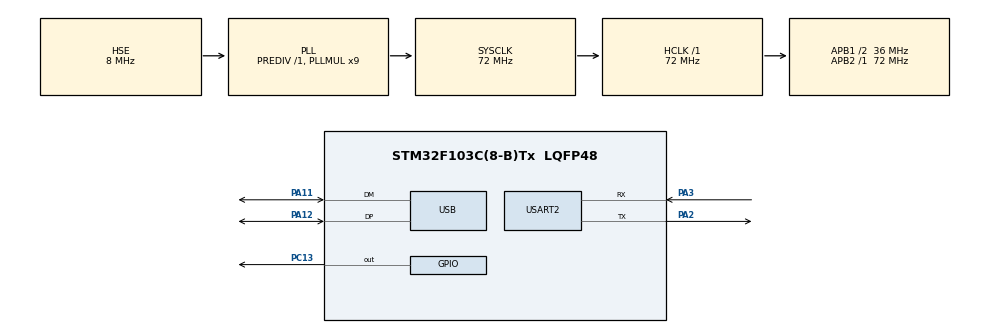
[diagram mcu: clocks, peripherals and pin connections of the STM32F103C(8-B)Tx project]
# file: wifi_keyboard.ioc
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Mcu.Family=STM32F1
Mcu.Name=STM32F103C(8-B)Tx
Mcu.Package=LQFP48
NVIC.PriorityGroup=NVIC_PRIORITYGROUP_4
NVIC.USB_LP_CAN1_RX0_IRQn=true\:0\:0\:false\:false\:true\:false
PA11.Mode=Device
PA11.Signal=USB_DM
PA12.Mode=Device
PA12.Signal=USB_DP
PA13.Mode=Serial_Wire
PA13.Signal=SYS_JTMS-SWDIO
PA14.Mode=Serial_Wire
PA14.Signal=SYS_JTCK-SWCLK
PA2.Mode=Asynchronous
PA2.Signal=USART2_TX
PA3.Mode=Asynchronous
PA3.Signal=USART2_RX
PC13-TAMPER-RTC.Signal=GPIO_Output
PD0-OSC_IN.Mode=HSE-External-Oscillator
PD0-OSC_IN.Signal=RCC_OSC_IN
PD1-OSC_OUT.Mode=HSE-External-Oscillator
PD1-OSC_OUT.Signal=RCC_OSC_OUT
ProjectManager.HeapSize=0x200
ProjectManager.StackSize=0x400
ProjectManager.TargetToolchain=MDK-ARM V5
RCC.AHBFreq_Value=72000000
RCC.APB1CLKDivider=RCC_HCLK_DIV2
RCC.APB1Freq_Value=36000000
RCC.APB1TimFreq_Value=72000000
RCC.APB2Freq_Value=72000000
RCC.APB2TimFreq_Value=72000000
RCC.HCLKFreq_Value=72000000
RCC.PLLMUL=RCC_PLL_MUL9
RCC.SYSCLKFreq_VALUE=72000000
RCC.SYSCLKSource=RCC_SYSCLKSOURCE_PLLCLK
RCC.USBFreq_Value=48000000
RCC.USBPrescaler=RCC_USBCLKSOURCE_PLL_DIV1_5
USART2.VirtualMode=VM_ASYNC
USB_DEVICE.CLASS_NAME_FS=HID
USB_DEVICE.MANUFACTURER_STRING=predebon
USB_DEVICE.VID=1234
USB_DEVICE.VirtualMode=Hid
USB_DEVICE.VirtualModeFS=Hid_FS
VP_USB_DEVICE_VS_USB_DEVICE_HID_FS.Mode=HID_FS
board=wifi_keyboard

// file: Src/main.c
/**
  ******************************************************************************
  * File Name          : main.c
  * Description        : Main program body
  ******************************************************************************
  * This notice applies to any and all portions of this file
  * that are not between comment pairs USER CODE BEGIN and
  * USER CODE END. Other portions of this file, whether
  * inserted by the user or by software development tools
  * are owned by their respective copyright owners.
  *
  * Copyright (c) 2018 STMicroelectronics International N.V.
  * All rights reserved.
  *
  * Redistribution and use in source and binary forms, with or without
  * modification, are permitted, provided that the following conditions are met:
  *
  * 1. Redistribution of source code must retain the above copyright notice,
  *    this list of conditions and the following disclaimer.
  * 2. Redistributions in binary form must reproduce the above copyright notice,
  *    this list of conditions and the following disclaimer in the documentation
  *    and/or other materials provided with the distribution.
  * 3. Neither the name of STMicroelectronics nor the names of other
  *    contributors to this software may be used to endorse or promote products
  *    derived from this software without specific written permission.
  * 4. This software, including modifications and/or derivative works of this
  *    software, must execute solely and exclusively on microcontroller or
  *    microprocessor devices manufactured by or for STMicroelectronics.
  * 5. Redistribution and use of this software other than as permitted under
  *    this license is void and will automatically terminate your rights under
  *    this license.
  *
  * THIS SOFTWARE IS PROVIDED BY STMICROELECTRONICS AND CONTRIBUTORS "AS IS"
  * AND ANY EXPRESS, IMPLIED OR STATUTORY WARRANTIES, INCLUDING, BUT NOT
  * LIMITED TO, THE IMPLIED WARRANTIES OF MERCHANTABILITY, FITNESS FOR A
  * PARTICULAR PURPOSE AND NON-INFRINGEMENT OF THIRD PARTY INTELLECTUAL PROPERTY
  * RIGHTS ARE DISCLAIMED TO THE FULLEST EXTENT PERMITTED BY LAW. IN NO EVENT
  * SHALL STMICROELECTRONICS OR CONTRIBUTORS BE LIABLE FOR ANY DIRECT, INDIRECT,
  * INCIDENTAL, SPECIAL, EXEMPLARY, OR CONSEQUENTIAL DAMAGES (INCLUDING, BUT NOT
  * LIMITED TO, PROCUREMENT OF SUBSTITUTE GOODS OR SERVICES; LOSS OF USE, DATA,
  * OR PROFITS; OR BUSINESS INTERRUPTION) HOWEVER CAUSED AND ON ANY THEORY OF
  * LIABILITY, WHETHER IN CONTRACT, STRICT LIABILITY, OR TORT (INCLUDING
  * NEGLIGENCE OR OTHERWISE) ARISING IN ANY WAY OUT OF THE USE OF THIS SOFTWARE,
  * EVEN IF ADVISED OF THE POSSIBILITY OF SUCH DAMAGE.
  *
  ******************************************************************************
  */
#include "main.h"
#include "stm32f1xx_hal.h"
#include "usb_device.h"

/* USER CODE BEGIN Includes */
#include "usbd_hid.h"
/* USER CODE END Includes */

UART_HandleTypeDef huart2;

/* USER CODE BEGIN PV */
/* Private variables ---------------------------------------------------------*/

/* USER CODE END PV */

void SystemClock_Config(void);
static void MX_GPIO_Init(void);
static void MX_USART2_UART_Init(void);
/* USER CODE BEGIN PFP */
/* Private function prototypes -----------------------------------------------*/

/* USER CODE END PFP */

int main(void)
{

  /* USER CODE BEGIN 1 */
  uint8_t report[8];		// 8 position hid report standard
	uint8_t buffer[100];	// uart ascii buffer
	uint8_t *pos=buffer;	// position on buffer
  /* USER CODE END 1 */

  /* MCU Configuration----------------------------------------------------------*/

  /* Reset of all peripherals, Initializes the Flash interface and the Systick. */
  HAL_Init();

  /* Configure the system clock */
  SystemClock_Config();

  /* Initialize all configured peripherals */
  MX_GPIO_Init();
  MX_USB_DEVICE_Init();
  MX_USART2_UART_Init();

  /* Infinite loop */
  while (1)
  {

		/* USER CODE BEGIN 3 */
		/*

		*/
		HAL_UART_Receive(&huart2, buffer, sizeof(buffer), 50);
		for (pos=buffer; *pos!=NULL; pos++)
		{
			/*

			report calculation:
			report [2] = received ascii data - ascii equivalent + hid equivalent

			(see hid and ascii tables to implement more keys)

			*/
			if (*pos>='a' && *pos<='z')					// lower case
				report[2] = *pos-93;        			// -97+4
			else if (*pos>='1' && *pos<='9') 		// num
				report[2] = *pos-19;  						// -49+30
			else if (*pos=='0')									// 0
				report[2] = *pos-9;  							// -48+39
			else if (*pos>='A' && *pos<='Z')  	// uppercase->lowercase
				report[2] = *pos-61; 							// -65+4
			else if (*pos=='\n')								// line feed->enter
				report[2] = *pos+30;							// -10+40
			else if (*pos==' ')								  //	space
				report[2] = *pos+12;							// -32+44

			USBD_HID_SendReport(&hUsbDeviceFS, report, 8);
			HAL_Delay(30); // press key for 30ms

			report[2] = 0;
			USBD_HID_SendReport(&hUsbDeviceFS, report, 8);
			HAL_Delay(30); // release key for 30ms

			HAL_UART_Transmit(&huart2, pos, 1, 10); // send back processed key via UART (not necessary)
			*pos = 0; // dinamically erases buffer
		}
  /* USER CODE END 3 */
	}
}

/** System Clock Configuration
*/
void SystemClock_Config(void)
{

  RCC_OscInitTypeDef RCC_OscInitStruct;
  RCC_ClkInitTypeDef RCC_ClkInitStruct;
  RCC_PeriphCLKInitTypeDef PeriphClkInit;

    /**Initializes the CPU, AHB and APB busses clocks
    */
  RCC_OscInitStruct.OscillatorType = RCC_OSCILLATORTYPE_HSE;
  RCC_OscInitStruct.HSEState = RCC_HSE_ON;
  RCC_OscInitStruct.HSEPredivValue = RCC_HSE_PREDIV_DIV1;
  RCC_OscInitStruct.HSIState = RCC_HSI_ON;
  RCC_OscInitStruct.PLL.PLLState = RCC_PLL_ON;
  RCC_OscInitStruct.PLL.PLLSource = RCC_PLLSOURCE_HSE;
  RCC_OscInitStruct.PLL.PLLMUL = RCC_PLL_MUL9;
  if (HAL_RCC_OscConfig(&RCC_OscInitStruct) != HAL_OK)
  {
    _Error_Handler(__FILE__, __LINE__);
  }

    /**Initializes the CPU, AHB and APB busses clocks
    */
  RCC_ClkInitStruct.ClockType = RCC_CLOCKTYPE_HCLK|RCC_CLOCKTYPE_SYSCLK
                              |RCC_CLOCKTYPE_PCLK1|RCC_CLOCKTYPE_PCLK2;
  RCC_ClkInitStruct.SYSCLKSource = RCC_SYSCLKSOURCE_PLLCLK;
  RCC_ClkInitStruct.AHBCLKDivider = RCC_SYSCLK_DIV1;
  RCC_ClkInitStruct.APB1CLKDivider = RCC_HCLK_DIV2;
  RCC_ClkInitStruct.APB2CLKDivider = RCC_HCLK_DIV1;

  if (HAL_RCC_ClockConfig(&RCC_ClkInitStruct, FLASH_LATENCY_2) != HAL_OK)
  {
    _Error_Handler(__FILE__, __LINE__);
  }

  PeriphClkInit.PeriphClockSelection = RCC_PERIPHCLK_USB;
  PeriphClkInit.UsbClockSelection = RCC_USBCLKSOURCE_PLL_DIV1_5;
  if (HAL_RCCEx_PeriphCLKConfig(&PeriphClkInit) != HAL_OK)
  {
    _Error_Handler(__FILE__, __LINE__);
  }

    /**Configure the Systick interrupt time
    */
  HAL_SYSTICK_Config(HAL_RCC_GetHCLKFreq()/1000);

    /**Configure the Systick
    */
  HAL_SYSTICK_CLKSourceConfig(SYSTICK_CLKSOURCE_HCLK);

  /* SysTick_IRQn interrupt configuration */
  HAL_NVIC_SetPriority(SysTick_IRQn, 0, 0);
}

/* USART2 init function */
static void MX_USART2_UART_Init(void)
{

  huart2.Instance = USART2;
  huart2.Init.BaudRate = 115200;
  huart2.Init.WordLength = UART_WORDLENGTH_8B;
  huart2.Init.StopBits = UART_STOPBITS_1;
  huart2.Init.Parity = UART_PARITY_NONE;
  huart2.Init.Mode = UART_MODE_TX_RX;
  huart2.Init.HwFlowCtl = UART_HWCONTROL_NONE;
  huart2.Init.OverSampling = UART_OVERSAMPLING_16;
  if (HAL_UART_Init(&huart2) != HAL_OK)
  {
    _Error_Handler(__FILE__, __LINE__);
  }

}

/** Configure pins as
        * Analog
        * Input
        * Output
        * EVENT_OUT
        * EXTI
*/
static void MX_GPIO_Init(void)
{

  GPIO_InitTypeDef GPIO_InitStruct;

  /* GPIO Ports Clock Enable */
  __HAL_RCC_GPIOC_CLK_ENABLE();
  __HAL_RCC_GPIOD_CLK_ENABLE();
  __HAL_RCC_GPIOA_CLK_ENABLE();

  /*Configure GPIO pin Output Level */
  HAL_GPIO_WritePin(GPIOC, GPIO_PIN_13, GPIO_PIN_RESET);

  /*Configure GPIO pin : PC13 */
  GPIO_InitStruct.Pin = GPIO_PIN_13;
  GPIO_InitStruct.Mode = GPIO_MODE_OUTPUT_PP;
  GPIO_InitStruct.Speed = GPIO_SPEED_FREQ_LOW;
  HAL_GPIO_Init(GPIOC, &GPIO_InitStruct);

}

void _Error_Handler(char * file, int line)
{
  while(1)
  {
  }
}

/************************ (C) COPYRIGHT STMicroelectronics *****END OF FILE****/
